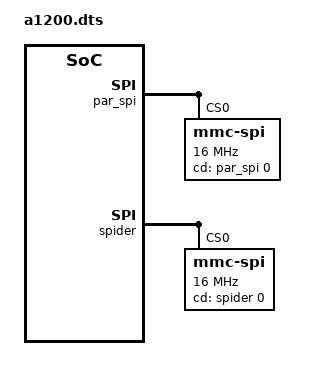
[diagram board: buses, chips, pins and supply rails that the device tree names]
/*
 * Device Tree Source for the Amiga A1200 with parallel-port and
 * clockport SPI SD card adapters.
 *
 * Each node becomes a struct device in the DDM framework.
 * The matching engine binds drivers by compatible string, filtered
 * by bus type. Binding is subsystem-driven: when a controller driver
 * probes successfully, it registers with its subsystem, which
 * enumerates the controller's device-tree children, sets their bus
 * type, and matches them inline — so the whole chain binds in one pass.
 *
 * Both adapter trees live under root as siblings. The matching engine
 * probes each independently — if SPIder hardware is absent, its probe
 * returns -1 (IDENT mismatch) and that branch stays unmatched; the
 * par-spi branch still works.
 *
 *   root
 *   ├── cia-parallelport    (platform bus; cia-parallelport.library)
 *   │   │                    Probes: claims CIA hardware, registers
 *   │   │                    an IRQ controller (CIA-A FLAG edge) and
 *   │   │                    a parallel port controller.
 *   │   └── par-spi-adapter  (parallel-port bus; par-spi.library)
 *   │       │                Probes: registers as SPI controller,
 *   │       │                GPIO controller (card-detect pin), and
 *   │       │                cascaded IRQ controller — all on this node.
 *   │       └── mmc-spi@0    (SPI bus; mmc-spi.device)
 *   │                        SD/MMC card on chip select 0.
 *   │
 *   └── gayle-clockport      (platform bus; gayle-clockport.library)
 *       │                    Probes: claims clockport memory region,
 *       │                    registers a clockport controller and an
 *       │                    IRQ controller (Amiga system interrupt).
 *       └── spider           (clockport bus; spider.library)
 *           │                Probes: probes SPIder firmware via IDENT,
 *           │                registers as SPI controller, GPIO
 *           │                controller (card-detect pin), and cascaded
 *           │                IRQ controller.
 *           └── mmc-spi@0    (SPI bus; mmc-spi.device)
 *                            SD/MMC card on chip select 0.
 *                            device-unit = <1> to avoid collision
 *                            with the par-spi mmc-spi unit 0.
 */

/ {
    cia_parallelport: cia-parallelport {
        compatible = "amiga,cia-parallelport";
        interrupt-controller;
        #interrupt-cells = <2>;

        par_spi: par-spi-adapter {
            compatible = "amiga,par-spi-adapter";

            #gpio-cells = <2>;
            gpio-controller;

            #interrupt-cells = <2>;
            interrupt-controller;
            interrupt-parent = <&cia_parallelport>;
            interrupts = <0 2>;   /* hwirq 0 (ACK/FLAG), edge falling */

            mmc-spi@0 {
                compatible = "mmc-spi";
                device-unit = <0>;
                reg = <0>;
                spi-max-frequency = <16000000>;
                cd-gpios = <&par_spi 0 0>;
            };
        };
    };

    gayle_clockport: gayle-clockport {
        compatible = "amiga,gayle-clockport";
        reg = <0xD80001>;
        interrupt-controller;
        #interrupt-cells = <2>;

        spider: spider {
            compatible = "amiga,spider";
            interrupt-parent = <&gayle_clockport>;
            interrupts = <0 8>;   /* level low, open-drain (shared) */

            #gpio-cells = <2>;
            gpio-controller;
            #interrupt-cells = <2>;
            interrupt-controller;

            mmc-spi@0 {
                compatible = "mmc-spi";
                device-unit = <1>;
                reg = <0>;
                spi-max-frequency = <16000000>;
                cd-gpios = <&spider 0 0>;
            };
        };
    };
};
